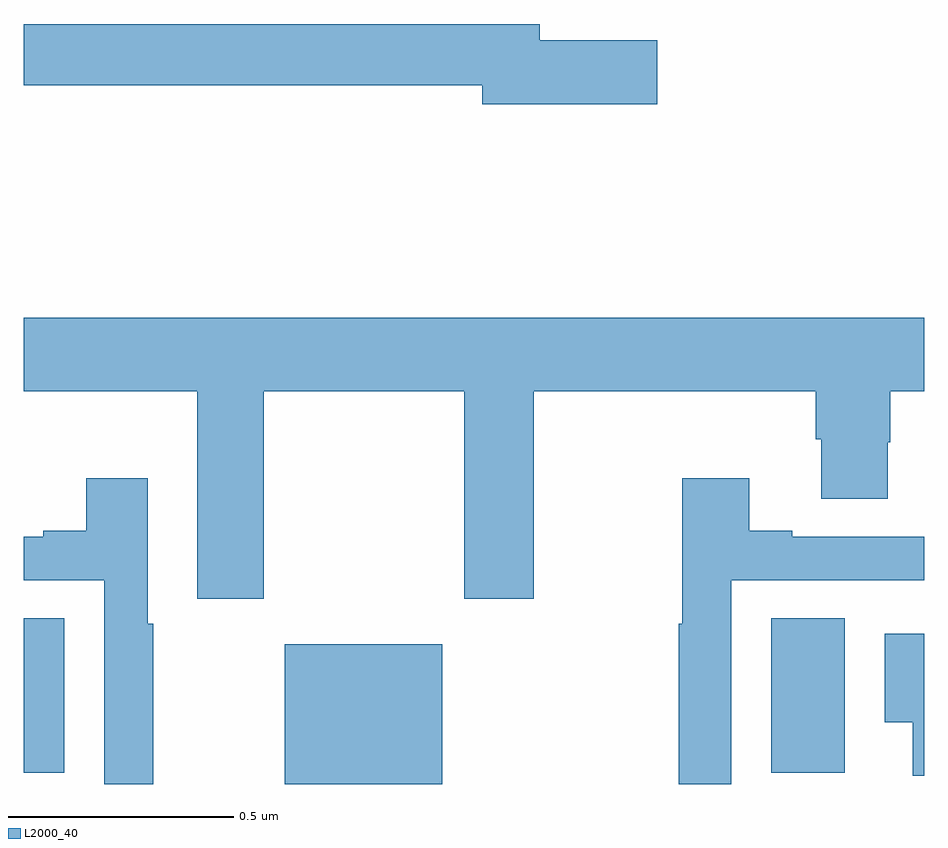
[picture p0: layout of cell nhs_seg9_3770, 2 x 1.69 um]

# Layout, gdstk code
import gdstk
lib = gdstk.Library(unit=1e-6, precision=1e-09)
def R(c, l, rs):  # rectangles x0, y0, x1, y1
    for r in rs: c.add(gdstk.rectangle(r[:2], r[2:], *l))
def P(c, l, *ps):  # polygons
    for p in ps: c.add(gdstk.Polygon(p, *l))
L2000_40 = (2000, 40)

nhs_seg9_3770 = lib.new_cell('nhs_seg9_3770')
R(nhs_seg9_3770, L2000_40, [(157.58,1243.5,157.93,1243.81), (157,1243.525,157.09,1243.868), (158.66,1243.525,158.824,1243.868)])
P(nhs_seg9_3770, L2000_40, [(158.407,1245.152),(158.146,1245.152),(158.146,1245.188),(157,1245.188),(157,1245.052),(158.018,1245.052),(158.018,1245.01),(158.407,1245.01)],
  [(157.533,1244.372),(157.978,1244.372),(157.978,1243.911),(158.133,1243.911),(158.133,1244.372),(158.759,1244.372),(158.759,1244.266),(158.771,1244.266),(158.771,1244.134),(158.919,1244.134),(158.919,1244.259),(158.924,1244.259),(158.924,1244.372),(159,1244.372),(159,1244.536),(157,1244.536),(157,1244.372),(157.385,1244.372),(157.385,1243.911),(157.533,1243.911)],
  [(158.571,1243.953),(159,1243.953),(159,1244.049),(158.707,1244.049),(158.707,1244.062),(158.611,1244.062),(158.611,1244.179),(158.463,1244.179),(158.463,1243.856),(158.455,1243.856),(158.455,1243.5),(158.571,1243.5)],
  [(157.288,1243.856),(157.275,1243.856),(157.275,1244.179),(157.139,1244.179),(157.139,1244.062),(157.043,1244.062),(157.043,1244.049),(157,1244.049),(157,1243.953),(157.179,1243.953),(157.179,1243.5),(157.288,1243.5)],
  [(159,1243.834),(158.912,1243.834),(158.912,1243.637),(158.975,1243.637),(158.975,1243.518),(159,1243.518)])

lib.write_gds('nhs_seg9_3770.gds')
